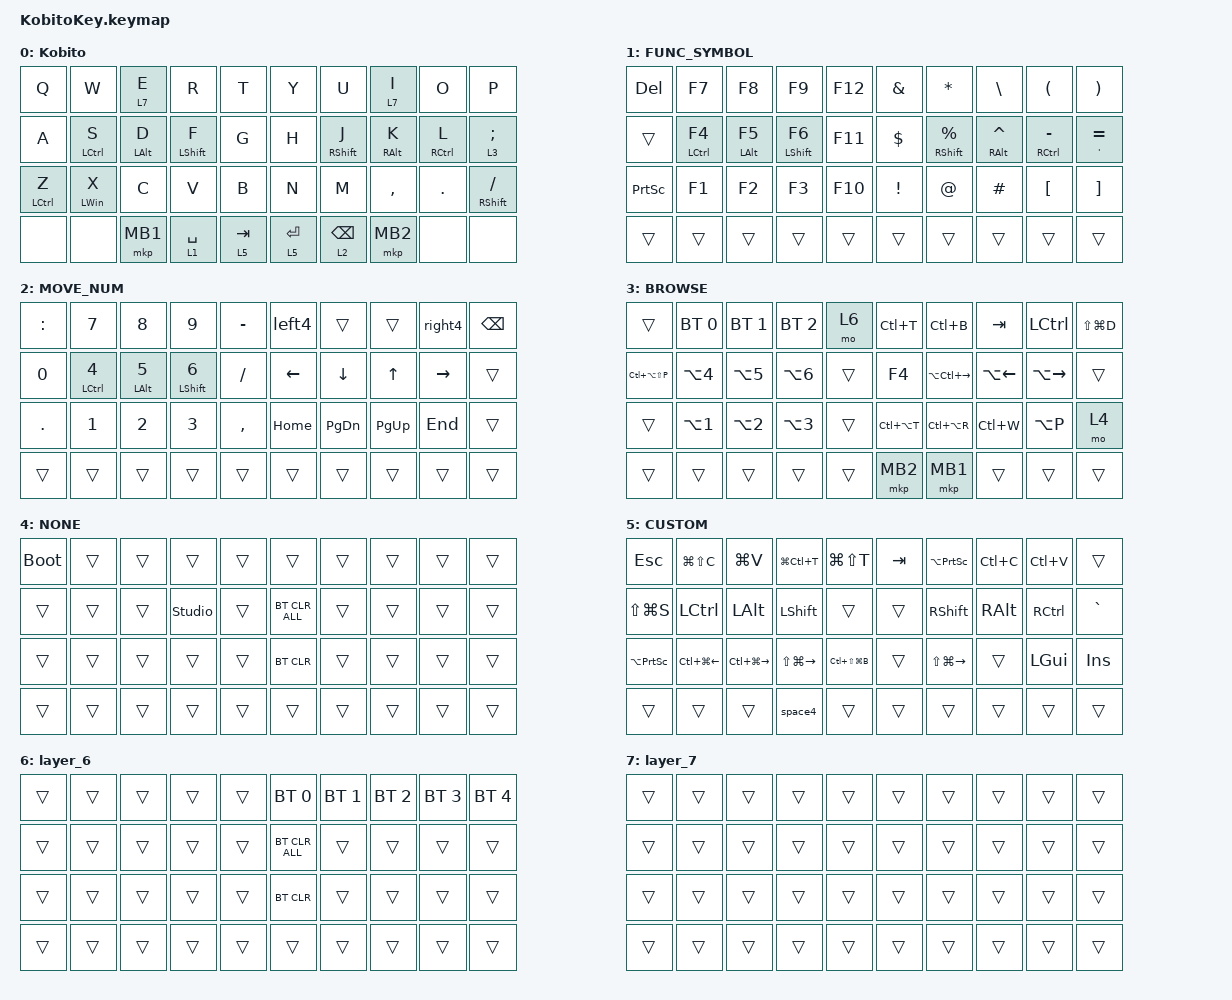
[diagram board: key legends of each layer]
#include <input/processors.dtsi>
#include <behaviors.dtsi>
#include <dt-bindings/zmk/bt.h>
#include <dt-bindings/zmk/keys.h>
#include <dt-bindings/zmk/pointing.h>

&lt {
    tapping-term-ms = <150>;
    quick-tap-ms = <300>;
    flavor = "tap-preferred";
};

&mt {
    quick-tap-ms = <300>;
    flavor = "balanced";
};

/ {
    combos {
        compatible = "zmk,combos";

        combo_eisu {
            timeout-ms = <50>;
            key-positions = <22 23>;
            bindings = <&kp LANG2>;
        };

        combo_kana {
            timeout-ms = <50>;
            key-positions = <27 26>;
            bindings = <&kp LANG1>;
        };

        combo_esc {
            timeout-ms = <50>;
            key-positions = <0 1>;
            bindings = <&kp ESC>;
        };

        combo_mb2 {
            bindings = <&mkp MB2>;
            key-positions = <13 12>;
        };

        combo_mb3 {
            bindings = <&mkp MB3>;
            key-positions = <20 21>;
        };

        combo_del {
            bindings = <&kp DELETE>;
            key-positions = <8 9>;
        };

        combo_single {
            bindings = <&kp SINGLE_QUOTE>;
            key-positions = <29 28>;
        };

        combo_minus {
            bindings = <&kp MINUS>;
            key-positions = <19 18>;
        };
    };

    macros {
        space4: space4 {
            compatible = "zmk,behavior-macro";
            #binding-cells = <0>;
            bindings = <&kp SPACE &kp SPACE &kp SPACE &kp SPACE>;
            label = "SPACE4";
        };

        left4: left4 {
            compatible = "zmk,behavior-macro";
            #binding-cells = <0>;
            bindings = <&kp LEFT &kp LEFT &kp LEFT &kp LEFT>;
            label = "LEFT4";
        };

        right4: right4 {
            compatible = "zmk,behavior-macro";
            #binding-cells = <0>;
            bindings = <&kp RIGHT &kp RIGHT &kp RIGHT &kp RIGHT>;
            label = "RIGHT4";
        };
    };

    keymap {
        compatible = "zmk,keymap";

        default_layer {
            label = "Kobito";
            bindings = <
&kp Q        &kp W        &lt 7 E         &kp R         &kp T      &kp Y        &kp U            &lt 7 I          &kp O        &kp P
&kp A        &mt LCTRL S  &mt LEFT_ALT D  &mt LSHIFT F  &kp G      &kp H        &mt RSHIFT J     &mt RIGHT_ALT K  &mt RCTRL L  &lt 3 SEMICOLON
&mt LCTRL Z  &mt LWIN X   &kp C           &kp V         &kp B      &kp N        &kp M            &kp COMMA        &kp DOT      &mt RSHIFT SLASH
&none        &none        &mkp MB1        &lt 1 SPACE   &lt 5 TAB  &lt 5 ENTER  &lt 2 BACKSPACE  &mkp MB2         &none        &none
            >;
        };

        layer1 {
            label = "FUNC_SYMBOL";
            bindings = <
&kp DELETE       &kp F7        &kp F8           &kp F9         &kp F12  &kp AMPERSAND    &kp ASTERISK        &kp BSLH             &kp LEFT_PARENTHESIS  &kp RIGHT_PARENTHESIS
&trans           &mt LCTRL F4  &mt LEFT_ALT F5  &mt LSHIFT F6  &kp F11  &kp DOLLAR       &mt RSHIFT PERCENT  &mt RIGHT_ALT CARET  &mt RCTRL MINUS       &mt SQT EQUAL
&kp PRINTSCREEN  &kp F1        &kp F2           &kp F3         &kp F10  &kp EXCLAMATION  &kp AT_SIGN         &kp HASH             &kp LBKT              &kp RBKT
&trans           &trans        &trans           &trans         &trans   &trans           &trans              &trans               &trans                &trans
            >;
        };

        layer2 {
            label = "MOVE_NUM";
            bindings = <
&kp COLON  &kp N7              &kp N8           &kp N9               &kp MINUS  &left4          &trans          &trans        &right4    &kp BACKSPACE
&kp N0     &mt LCTRL NUMBER_4  &mt LEFT_ALT N5  &mt LSHIFT NUMBER_6  &kp FSLH   &kp LEFT_ARROW  &kp DOWN_ARROW  &kp UP_ARROW  &kp RIGHT  &trans
&kp DOT    &kp N1              &kp N2           &kp N3               &kp COMMA  &kp HOME        &kp PAGE_DOWN   &kp PAGE_UP   &kp END    &trans
&trans     &trans              &trans           &trans               &trans     &trans          &trans          &trans        &trans     &trans
            >;
        };

        layer3 {
            label = "BROWSE";
            bindings = <
&trans             &bt BT_SEL 0  &bt BT_SEL 1  &bt BT_SEL 2  &mo 6   &kp LC(T)      &kp LC(B)          &kp TAB       &kp LCTRL      &kp LS(LG(D))
&kp LC(LA(LS(P)))  &kp LA(N4)    &kp LA(N5)    &kp LA(N6)    &trans  &kp F4         &kp LA(LC(RIGHT))  &kp LA(LEFT)  &kp LA(RIGHT)  &trans
&trans             &kp LA(N1)    &kp LA(N2)    &kp LA(N3)    &trans  &kp LC(LA(T))  &kp LC(LA(R))      &kp LC(W)     &kp LA(P)      &mo 4
&trans             &trans        &trans        &trans        &trans  &mkp MB2       &mkp MB1           &trans        &trans         &trans
            >;
        };

        layer_4 {
            label = "NONE";
            bindings = <
&bootloader  &trans  &trans  &trans          &trans  &trans          &trans  &trans  &trans  &trans
&trans       &trans  &trans  &studio_unlock  &trans  &bt BT_CLR_ALL  &trans  &trans  &trans  &trans
&trans       &trans  &trans  &trans          &trans  &bt BT_CLR      &trans  &trans  &trans  &trans
&trans       &trans  &trans  &trans          &trans  &trans          &trans  &trans  &trans  &trans
            >;
        };

        layer_5 {
            label = "CUSTOM";
            bindings = <
&kp ESC              &kp LG(LS(C))     &kp LG(V)          &kp LG(LC(T))      &kp LG(LS(T))      &kp TAB  &kp LA(PRINTSCREEN)  &kp LC(C)  &kp LC(V)  &trans
&kp LS(LG(S))        &kp LCTRL         &kp LALT           &kp LSHFT          &trans             &trans   &kp RSHFT            &kp RALT   &kp RCTRL  &kp GRAVE
&kp LA(PRINTSCREEN)  &kp LC(LG(LEFT))  &kp LC(LG(RIGHT))  &kp LS(LG(RIGHT))  &kp LC(LS(LG(B)))  &trans   &kp LS(LG(RIGHT))    &trans     &kp LGUI   &kp INSERT
&trans               &trans            &trans             &space4            &trans             &trans   &trans               &trans     &trans     &trans
            >;
        };

        layer_6 {
            bindings = <
&trans  &trans  &trans  &trans  &trans  &bt BT_SEL 0    &bt BT_SEL 1  &bt BT_SEL 2  &bt BT_SEL 3  &bt BT_SEL 4
&trans  &trans  &trans  &trans  &trans  &bt BT_CLR_ALL  &trans        &trans        &trans        &trans
&trans  &trans  &trans  &trans  &trans  &bt BT_CLR      &trans        &trans        &trans        &trans
&trans  &trans  &trans  &trans  &trans  &trans          &trans        &trans        &trans        &trans
            >;
        };

        layer_7 {
            bindings = <
&trans  &trans  &trans  &trans  &trans  &trans  &trans  &trans  &trans  &trans
&trans  &trans  &trans  &trans  &trans  &trans  &trans  &trans  &trans  &trans
&trans  &trans  &trans  &trans  &trans  &trans  &trans  &trans  &trans  &trans
&trans  &trans  &trans  &trans  &trans  &trans  &trans  &trans  &trans  &trans
            >;
        };
    };
};
